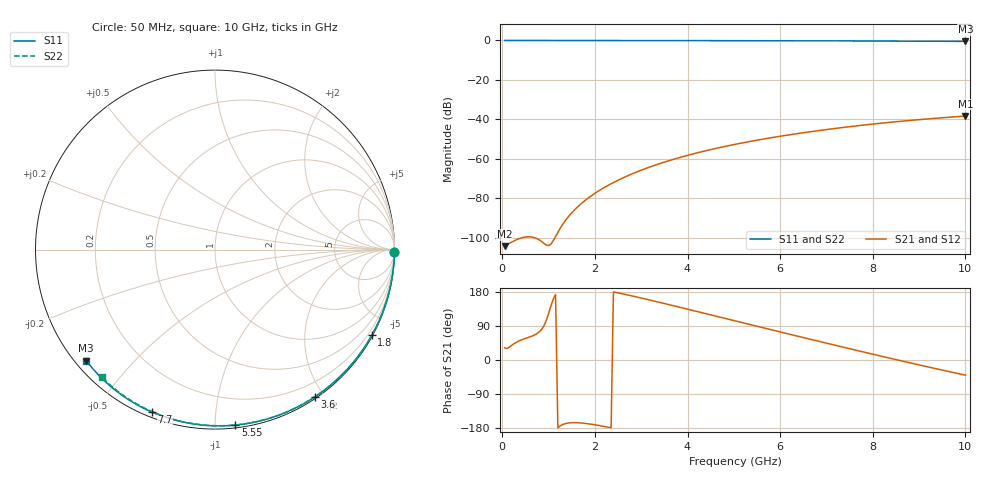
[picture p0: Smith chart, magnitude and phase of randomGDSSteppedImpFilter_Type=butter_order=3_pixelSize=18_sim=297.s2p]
! freq	dB(S11)	phase(S11)	dB(S12)	phase(S12)
!  dB(S21)	phase(S21)	dB(S22)	phase(S22)
!S-par simulation data
#  GHz  S  DB  R 50
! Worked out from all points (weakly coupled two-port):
!   200 points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, 50 MHz to 10 GHz, reference 50 ohm
!   highest |S21| = -38.38 dB at 10 GHz (marker M1); lowest = -104.4 dB at 50 MHz (marker M2)
!   lowest |S11| = -0.5 dB at 10 GHz (marker M3), VSWR 36.60, Z = 1.55 - j18.6 ohm
!   |S11| at or under -10 dB: nowhere
!   |S22| runs from -0.4 to 0.0 dB; largest |S21 - S12| = 0
!   S11 on the Smith chart (normalised r, x): 50 MHz: open; 1.8 GHz: 0.03, -3.91; 3.6 GHz: 0.02, -1.88; 5.55 GHz: 0.02, -1.12; 7.7 GHz: 0.02, -0.68; 10 GHz: 0.03, -0.37
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0.05  -0.00 -0.8  -104.38 32.1  -104.38 32.1  -0.00 -0.8
0.45  -0.01 -7.3  -99.95 54.8  -99.95 54.8  -0.01 -6.9
0.9  -0.02 -14.5  -102.96 90.5  -102.96 90.5  -0.02 -13.6
1.75  -0.04 -27.9  -81.89 -166.8  -81.89 -166.8  -0.03 -26.3
1.8  -0.04 -28.7  -80.94 -167.5  -80.94 -167.5  -0.03 -27.0
1.85  -0.04 -29.4  -80.04 -168.3  -80.04 -168.3  -0.04 -27.8
2.15  -0.04 -34.1  -75.33 -174.2  -75.33 -174.2  -0.04 -32.2
2.35  -0.05 -37.2  -72.69 -179.0  -72.69 -179.0  -0.05 -35.1
2.55  -0.05 -40.2  -70.33 175.9  -70.33 175.9  -0.05 -38.0
2.95  -0.06 -46.3  -66.28 165.0  -66.28 165.0  -0.06 -43.7
3.4  -0.07 -53.0  -62.47 152.0  -62.47 152.0  -0.07 -50.0
3.6  -0.08 -56.0  -60.98 146.1  -60.98 146.1  -0.07 -52.8
3.9  -0.08 -60.3  -58.93 137.2  -58.93 137.2  -0.08 -57.0
4.3  -0.09 -66.1  -56.49 125.2  -56.49 125.2  -0.09 -62.4
5.05  -0.12 -76.6  -52.59 102.5  -52.59 102.5  -0.11 -72.4
5.55  -0.14 -83.4  -50.38 87.5  -50.38 87.5  -0.13 -78.9
6.1  -0.16 -90.7  -48.23 71.1  -48.23 71.1  -0.15 -85.9
6.7  -0.19 -98.5  -46.15 53.3  -46.15 53.3  -0.18 -93.3
7.7  -0.25 -111.2  -43.19 24.0  -43.19 24.0  -0.24 -105.3
8.35  -0.31 -119.2  -41.57 5.3  -41.57 5.3  -0.29 -112.9
9.2  -0.38 -129.6  -39.78 -18.5  -39.78 -18.5  -0.36 -122.6
10  -0.47 -139.2  -38.38 -39.9  -38.38 -39.9  -0.45 -131.7
